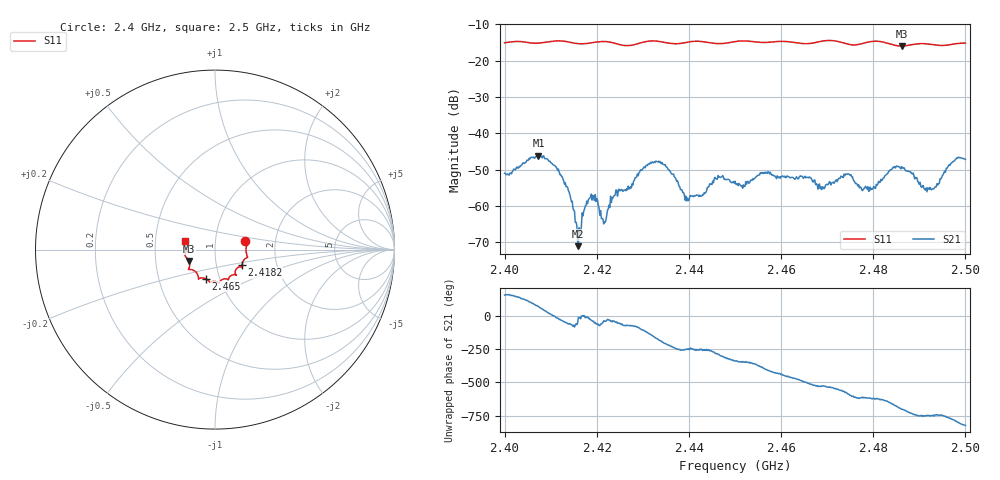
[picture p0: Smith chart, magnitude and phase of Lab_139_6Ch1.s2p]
# Hz S RI R 50
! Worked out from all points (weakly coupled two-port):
!   601 points, 2.4 GHz to 2.5 GHz, reference 50 ohm
!   highest |S21| = -46.18 dB at 2.4073 GHz (marker M1); lowest = -71.1 dB at 2.416 GHz (marker M2)
!   lowest |S11| = -16.0 dB at 2.4862 GHz (marker M3), VSWR 1.37, Z = 37.1 - j4.83 ohm
!   |S11| at or under -10 dB: start of sweep to end of sweep
!   S12 and S22 are empty: the file has one direction only
!   S11 on the Smith chart (normalised r, x): 2.4 GHz: 1.40, +0.13; 2.4182 GHz: 1.33, -0.23; 2.465 GHz: 0.86, -0.29; 2.5 GHz: 0.71, +0.07
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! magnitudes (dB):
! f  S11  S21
! 2.4 GHz  -15.1  -51.0
! 2.4073 GHz  -15.2  -46.2
! 2.4122 GHz  -14.6  -51.4
! 2.416 GHz  -15.4  -71.1
! 2.4167 GHz  -15.4  -65.5
! 2.4182 GHz  -15.3  -58.4
! 2.4197 GHz  -15.0  -56.9
! 2.4215 GHz  -14.8  -64.9
! 2.4238 GHz  -15.2  -57.2
! 2.4333 GHz  -14.7  -47.9
! 2.4397 GHz  -15.0  -57.9
! 2.446 GHz  -15.3  -52.7
! 2.45 GHz  -14.8  -53.2
! 2.465 GHz  -15.4  -52.1
! 2.4667 GHz  -15.2  -52.7
! 2.469 GHz  -14.6  -54.8
! 2.4747 GHz  -15.5  -51.2
! 2.4795 GHz  -14.8  -55.5
! 2.4833 GHz  -15.3  -50.5
! 2.4862 GHz  -16.0  -49.2
! 2.4927 GHz  -15.6  -55.6
! 2.5 GHz  -15.2  -47.2
